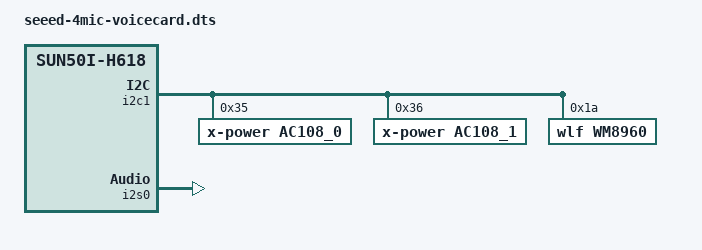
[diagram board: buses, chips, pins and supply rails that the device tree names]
/dts-v1/;
/plugin/;

/ {
    compatible = "allwinner,sun50i-h618";

    fragment@0 {
        target-path = "/";
        __overlay__ {
            ac108_clock: ac108_clock {
                compatible = "fixed-clock";
                #clock-cells = <0>;
                clock-frequency = <24000000>;
            };
        };
    };

    fragment@1 {
        target = <&i2c1>;
        __overlay__ {
            #address-cells = <1>;
            #size-cells = <0>;
            status = "okay";

            ac108_0: ac108@35 {
                compatible = "x-power,ac108_0";
                reg = <0x35>;
                #sound-dai-cells = <0>;
                data-protocol = <0>;
                status = "okay";
                clocks = <&ac108_clock>;
            };

            ac108_1: ac108@36 {
                compatible = "x-power,ac108_1";
                reg = <0x36>;
                #sound-dai-cells = <0>;
                data-protocol = <0>;
                status = "okay";
                clocks = <&ac108_clock>;
            };

            wm8960: wm8960@1a {
                compatible = "wlf,wm8960";
                reg = <0x1a>;
                #sound-dai-cells = <0>;
                status = "okay";
                clocks = <&ac108_clock>;
            };
        };
    };

    fragment@2 {
        target = <&i2s0>;
        __overlay__ {
            status = "okay";
            pinctrl-names = "default";
            sound-dai = <&wm8960>, <&ac108_0>, <&ac108_1>;
        };
    };

    fragment@3 {
        target-path = "/";
        __overlay__ {
            seeed_4mic_card: seeed_4mic_card {
                compatible = "simple-audio-card";
                simple-audio-card,name = "seeed-4mic-voicecard";
                simple-audio-card,format = "i2s";
                simple-audio-card,widgets =
                    "Microphone", "Microphone Array",
                    "Headphone", "Headphone Jack";
                simple-audio-card,routing =
                    "Headphone Jack", "HP_L",
                    "Headphone Jack", "HP_R";

                simple-audio-card,cpu {
                    sound-dai = <&i2s0>;
                };

                simple-audio-card,codec {
                    sound-dai = <&wm8960>, <&ac108_0>, <&ac108_1>;
                    system-clock-frequency = <24000000>;
                };
            };
        };
    };
};
